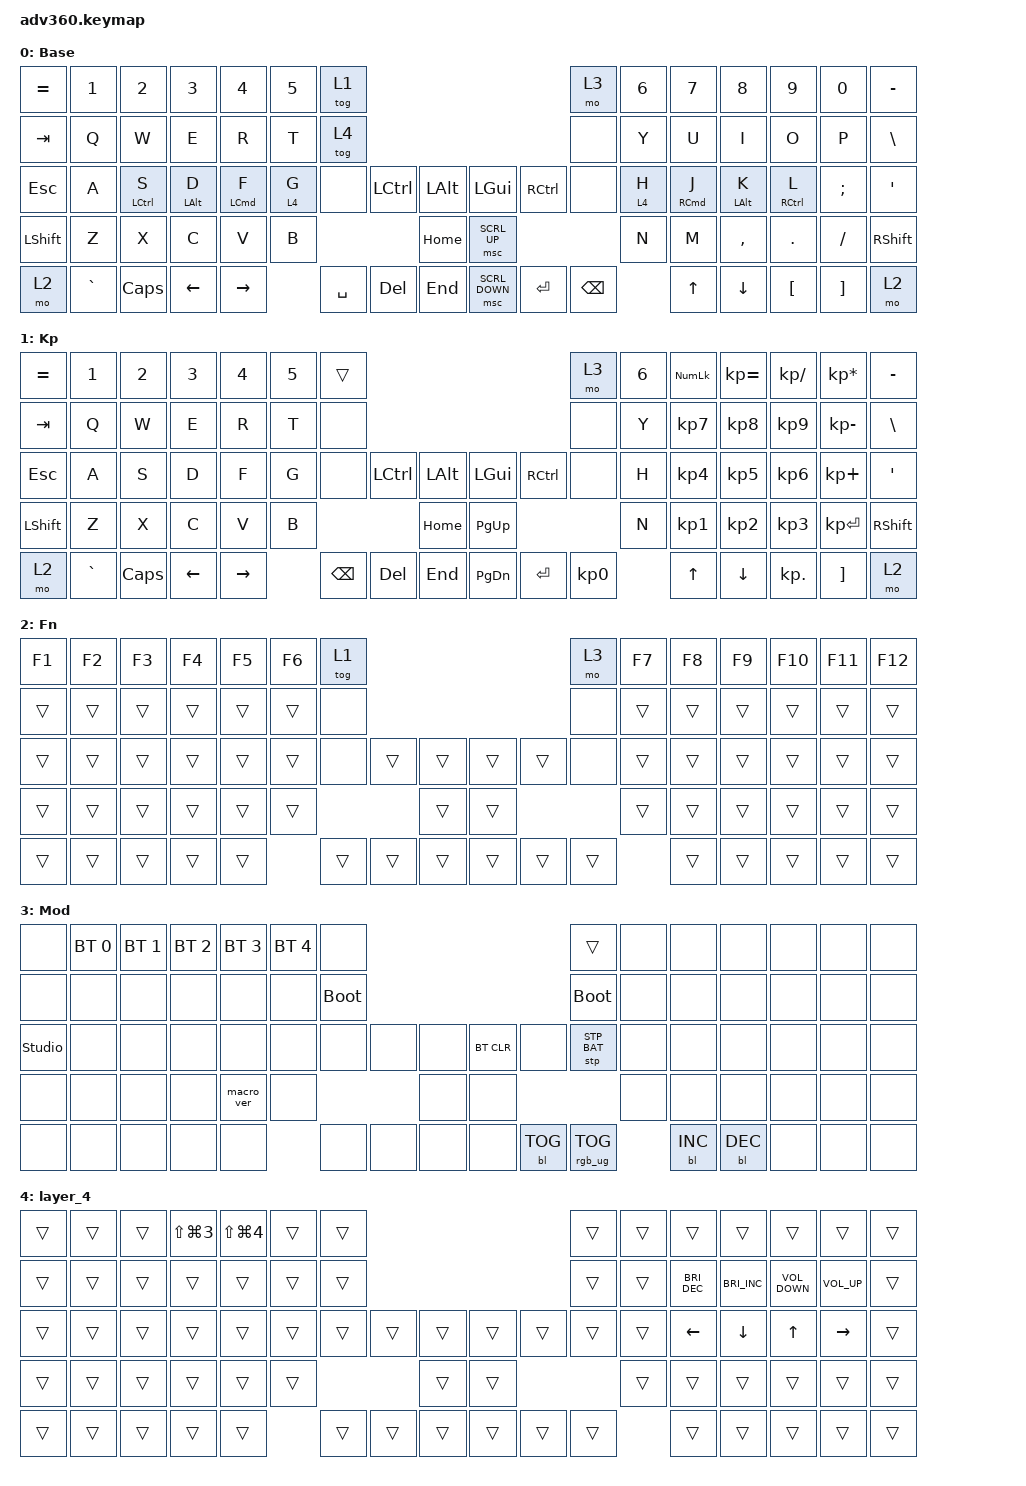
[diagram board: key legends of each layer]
#include <dt-bindings/zmk/stp.h>
#include <behaviors.dtsi>
#include <dt-bindings/zmk/backlight.h>
#include <dt-bindings/zmk/bt.h>
#include <dt-bindings/zmk/keys.h>
#include <dt-bindings/zmk/pointing.h>
#include <dt-bindings/zmk/rgb.h>

&lt {
    tapping-term-ms = <200>;
    quick-tap-ms = <125>;
};

/ {
    behaviors {
        #include "macros.dtsi"
      #include "version.dtsi"

        hm: homerow_mods {
            compatible = "zmk,behavior-hold-tap";
            label = "HOMEROW_MODS";
            #binding-cells = <2>;
            tapping-term-ms = <250>;
            quick_tap_ms = <125>;
            flavor = "tap-preferred";
            bindings = <&kp>, <&kp>;

            quick-tap-ms = <125>;
            require-prior-idle-ms = <150>;
        };
    };

    keymap {
        compatible = "zmk,keymap";

        default_layer {
            display-name = "Base";
            bindings = <
&kp EQUAL  &kp N1     &kp N2              &kp N3          &kp N4              &kp N5   &tog 1                                                         &mo 3          &kp N6   &kp N7               &kp N8          &kp N9               &kp N0    &kp MINUS
&kp TAB    &kp Q      &kp W               &kp E           &kp R               &kp T    &tog 4                                                         &none          &kp Y    &kp U                &kp I           &kp O                &kp P     &kp BSLH
&kp ESC    &kp A      &hm LEFT_CONTROL S  &hm LEFT_ALT D  &hm LEFT_COMMAND F  &lt 4 G  &none      &kp LCTRL  &kp LALT      &kp LGUI        &kp RCTRL  &none          &lt 4 H  &hm RIGHT_COMMAND J  &hm LEFT_ALT K  &hm RIGHT_CONTROL L  &kp SEMI  &kp SQT
&kp LSHFT  &kp Z      &kp X               &kp C           &kp V               &kp B                          &kp HOME      &msc SCRL_UP                              &kp N    &kp M                &kp COMMA       &kp DOT              &kp FSLH  &kp RSHFT
&mo 2      &kp GRAVE  &kp CAPS            &kp LEFT        &kp RIGHT                    &kp SPACE  &kp DEL    &kp END       &msc SCRL_DOWN  &kp ENTER  &kp BACKSPACE           &kp UP               &kp DOWN        &kp LBKT             &kp RBKT  &mo 2
            >;
        };

        keypad {
            display-name = "Kp";
            bindings = <
&kp EQUAL  &kp N1     &kp N2    &kp N3    &kp N4     &kp N5  &trans                                                   &mo 3      &kp N6  &kp KP_NUM  &kp KP_EQUAL  &kp KP_DIVIDE  &kp KP_MULTIPLY  &kp MINUS
&kp TAB    &kp Q      &kp W     &kp E     &kp R      &kp T   &none                                                    &none      &kp Y   &kp KP_N7   &kp KP_N8     &kp KP_N9      &kp KP_MINUS     &kp BSLH
&kp ESC    &kp A      &kp S     &kp D     &kp F      &kp G   &none     &kp LCTRL  &kp LALT      &kp LGUI   &kp RCTRL  &none      &kp H   &kp KP_N4   &kp KP_N5     &kp KP_N6      &kp KP_PLUS      &kp SQT
&kp LSHFT  &kp Z      &kp X     &kp C     &kp V      &kp B                        &kp HOME      &kp PG_UP                        &kp N   &kp KP_N1   &kp KP_N2     &kp KP_N3      &kp KP_ENTER     &kp RSHFT
&mo 2      &kp GRAVE  &kp CAPS  &kp LEFT  &kp RIGHT          &kp BSPC  &kp DEL    &kp END       &kp PG_DN  &kp ENTER  &kp KP_N0          &kp UP      &kp DOWN      &kp KP_DOT     &kp RBKT         &mo 2
            >;
        };

        fn {
            display-name = "Fn";
            bindings = <
&kp F1  &kp F2  &kp F3  &kp F4  &kp F5  &kp F6  &tog 1                                      &mo 3   &kp F7  &kp F8  &kp F9  &kp F10  &kp F11  &kp F12
&trans  &trans  &trans  &trans  &trans  &trans  &none                                       &none   &trans  &trans  &trans  &trans   &trans   &trans
&trans  &trans  &trans  &trans  &trans  &trans  &none   &trans  &trans      &trans  &trans  &none   &trans  &trans  &trans  &trans   &trans   &trans
&trans  &trans  &trans  &trans  &trans  &trans                  &trans      &trans                  &trans  &trans  &trans  &trans   &trans   &trans
&trans  &trans  &trans  &trans  &trans          &trans  &trans  &trans      &trans  &trans  &trans          &trans  &trans  &trans   &trans   &trans
            >;
        };

        mod {
            display-name = "Mod";
            bindings = <
&none           &bt BT_SEL 0  &bt BT_SEL 1  &bt BT_SEL 2  &bt BT_SEL 3  &bt BT_SEL 4  &none                                                  &trans           &none  &none       &none       &none  &none  &none
&none           &none         &none         &none         &none         &none         &bootloader                                            &bootloader      &none  &none       &none       &none  &none  &none
&studio_unlock  &none         &none         &none         &none         &none         &none        &none  &none      &bt BT_CLR  &none       &stp STP_BAT     &none  &none       &none       &none  &none  &none
&none           &none         &none         &none         &macro_ver    &none                             &none      &none                                    &none  &none       &none       &none  &none  &none
&none           &none         &none         &none         &none                       &none        &none  &none      &none       &bl BL_TOG  &rgb_ug RGB_TOG         &bl BL_INC  &bl BL_DEC  &none  &none  &none
            >;
        };

        layer_4 {
            bindings = <
&trans  &trans  &trans  &kp LS(LG(NUMBER_3))  &kp LS(LG(NUMBER_4))  &trans  &trans                                      &trans  &trans  &trans                &trans                &trans             &trans           &trans
&trans  &trans  &trans  &trans                &trans                &trans  &trans                                      &trans  &trans  &kp C_BRIGHTNESS_DEC  &kp C_BRIGHTNESS_INC  &kp C_VOLUME_DOWN  &kp C_VOLUME_UP  &trans
&trans  &trans  &trans  &trans                &trans                &trans  &trans  &trans  &trans      &trans  &trans  &trans  &trans  &kp LEFT_ARROW        &kp DOWN_ARROW        &kp UP_ARROW       &kp RIGHT_ARROW  &trans
&trans  &trans  &trans  &trans                &trans                &trans                  &trans      &trans                  &trans  &trans                &trans                &trans             &trans           &trans
&trans  &trans  &trans  &trans                &trans                        &trans  &trans  &trans      &trans  &trans  &trans          &trans                &trans                &trans             &trans           &trans
            >;
        };
    };
};
